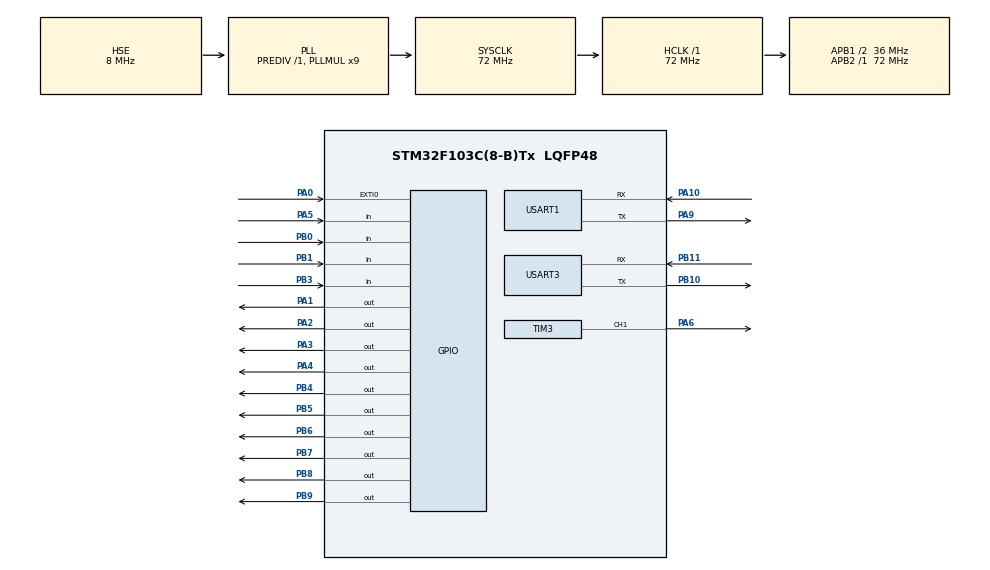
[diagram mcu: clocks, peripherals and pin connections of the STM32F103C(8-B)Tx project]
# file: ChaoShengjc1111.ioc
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FREERTOS.Mutexes01=dataMutex,Dynamic,NULL,Available
FREERTOS.Queues01=espQueue,128,uint8_t,0,Dynamic,NULL,NULL
FREERTOS.Tasks01=Task_key,24,256,StartTask_key,Default,NULL,Dynamic,NULL,NULL;Task_Sensor,25,256,StartTask_Sensor,Default,NULL,Dynamic,NULL,NULL;Task_OLED,8,256,StartTask_OLED,Default,NULL,Dynamic,NULL,NULL;Task_EspProcess,32,768,StartTask_EspProces,Default,NULL,Dynamic,NULL,NULL
FREERTOS.configTOTAL_HEAP_SIZE=8192
Mcu.Family=STM32F1
Mcu.Name=STM32F103C(8-B)Tx
Mcu.Package=LQFP48
NVIC.EXTI0_IRQn=true\:5\:0\:false\:false\:true\:true\:true\:true\:true
NVIC.PriorityGroup=NVIC_PRIORITYGROUP_4
NVIC.USART1_IRQn=true\:5\:0\:false\:false\:true\:true\:true\:true\:true
NVIC.USART3_IRQn=true\:5\:0\:false\:false\:true\:true\:true\:true\:true
PA0-WKUP.GPIO_ModeDefaultEXTI=GPIO_MODE_IT_RISING_FALLING
PA0-WKUP.GPIO_PuPd=GPIO_PULLUP
PA0-WKUP.Signal=GPXTI0
PA1.Signal=GPIO_Output
PA10.Mode=Asynchronous
PA10.Signal=USART1_RX
PA13.Mode=Serial_Wire
PA13.Signal=SYS_JTMS-SWDIO
PA14.Mode=Serial_Wire
PA14.Signal=SYS_JTCK-SWCLK
PA2.Signal=GPIO_Output
PA3.Signal=GPIO_Output
PA4.Signal=GPIO_Output
PA5.GPIO_PuPd=GPIO_PULLUP
PA5.Signal=GPIO_Input
PA6.Signal=S_TIM3_CH1
PA9.Mode=Asynchronous
PA9.Signal=USART1_TX
PB0.GPIO_PuPd=GPIO_PULLUP
PB0.Signal=GPIO_Input
PB1.GPIO_PuPd=GPIO_PULLUP
PB1.Signal=GPIO_Input
PB10.Mode=Asynchronous
PB10.Signal=USART3_TX
PB11.Mode=Asynchronous
PB11.Signal=USART3_RX
PB3.GPIO_PuPd=GPIO_PULLUP
PB3.Signal=GPIO_Input
PB4.Signal=GPIO_Output
PB5.Signal=GPIO_Output
PB6.Signal=GPIO_Output
PB7.Signal=GPIO_Output
PB8.GPIO_ModeDefaultOutputPP=GPIO_MODE_OUTPUT_OD
PB8.GPIO_PuPd=GPIO_PULLUP
PB8.Signal=GPIO_Output
PB9.GPIO_ModeDefaultOutputPP=GPIO_MODE_OUTPUT_OD
PB9.GPIO_PuPd=GPIO_PULLUP
PB9.Signal=GPIO_Output
PD0-OSC_IN.Mode=HSE-External-Oscillator
PD0-OSC_IN.Signal=RCC_OSC_IN
PD1-OSC_OUT.Mode=HSE-External-Oscillator
PD1-OSC_OUT.Signal=RCC_OSC_OUT
ProjectManager.HeapSize=0x200
ProjectManager.StackSize=0x400
ProjectManager.TargetToolchain=STM32CubeIDE
RCC.AHBFreq_Value=72000000
RCC.APB1CLKDivider=RCC_HCLK_DIV2
RCC.APB1Freq_Value=36000000
RCC.APB1TimFreq_Value=72000000
RCC.APB2Freq_Value=72000000
RCC.APB2TimFreq_Value=72000000
RCC.HCLKFreq_Value=72000000
RCC.PLLMUL=RCC_PLL_MUL9
RCC.PLLSourceVirtual=RCC_PLLSOURCE_HSE
RCC.SYSCLKFreq_VALUE=72000000
RCC.SYSCLKSource=RCC_SYSCLKSOURCE_PLLCLK
RCC.USBFreq_Value=72000000
SH.S_TIM3_CH1.0=TIM3_CH1,PWM Generation1 CH1
TIM3.Channel-PWM\ Generation1\ CH1=TIM_CHANNEL_1
TIM3.Period=399
TIM3.Prescaler=71
TIM4.Prescaler=71
USART1.VirtualMode=VM_ASYNC
USART3.VirtualMode=VM_ASYNC
VP_FREERTOS_VS_CMSIS_V2.Mode=CMSIS_V2
VP_TIM3_VS_ClockSourceINT.Mode=Internal
VP_TIM4_VS_ClockSourceINT.Mode=Internal
board=custom

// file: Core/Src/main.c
/* USER CODE BEGIN Header */
/**
  ******************************************************************************
  * @file           : main.c
  * @brief          : Main program body
  ******************************************************************************
  * @attention
  *
  * Copyright (c) 2026 STMicroelectronics.
  * All rights reserved.
  *
  * This software is licensed under terms that can be found in the LICENSE file
  * in the root directory of this software component.
  * If no LICENSE file comes with this software, it is provided AS-IS.
  *
  ******************************************************************************
  */
/* USER CODE END Header */
#include "main.h"
#include "cmsis_os.h"
#include "tim.h"
#include "usart.h"
#include "gpio.h"

/* USER CODE BEGIN Includes */
#include "delay.h"
#include "led.h"
#include "beep.h"
#include "key.h"
#include "oled.h"
#include "hc_sr04.h"
#include "store.h"
#include "esp8266.h"
/* USER CODE END Includes */

/* USER CODE BEGIN PV */
int key_num;
int s_distance;          /* 设定距离（全局，任务共享） */
int c_distance;          /* 编辑中的距离 */
uint8_t edit_mode = 0;   /* 0=普通模式, 1=数值编辑模式 */
/* USER CODE END PV */

void SystemClock_Config(void);
void MX_FREERTOS_Init(void);

int main(void)
{

  /* USER CODE BEGIN 1 */
  SCB->VTOR = FLASH_BASE | 0x6000;   /* OTA: APP向量表偏移到0x08006000，必须在HAL_Init之前 */

  /* USER CODE END 1 */

  /* MCU Configuration--------------------------------------------------------*/

  /* Reset of all peripherals, Initializes the Flash interface and the Systick. */
  HAL_Init();

  /* Configure the system clock */
  SystemClock_Config();

  /* Initialize all configured peripherals */
  MX_GPIO_Init();
  MX_TIM3_Init();
  MX_TIM4_Init();
  MX_USART1_UART_Init();
  MX_USART3_UART_Init();
  /* USER CODE BEGIN 2 */
  delay_init(72);
  ESP8266_USART1_Init();
  __enable_irq();                    /* OTA: Bootloader跳转前__disable_irq()，跳转非真复位、PRIMASK保持1;
                                        在USART1/ESP接收等中断外设全部就绪后再开中断，否则SVC/SysTick/
                                        USART被屏蔽任务无法启动，过早开中断还可能触发未初始化外设HardFault */

  /* 外设初始化 */
  Led_init();
  Beep_PWM_Init();
  key16_init();
  OLED_Init();
  Store_Init();
  hc_sr04_init();

  if (Store_Data[1] == 0x0000 || Store_Data[1] > 100)
      Store_Data[1] = 10;
  s_distance = Store_Data[1];   /* 初始设定距离 10cm */

  c_distance = 0;

  /* 初始化OLED显示 */
  OLED_Clear();
  OLED_ShowString(1, 1, "HC-SR04 Test");

  OLED_ShowString(2, 1, "Set:");
  OLED_ShowString(2, 8, "cm ");
  OLED_ShowNum(2, 5, s_distance, 2);

  OLED_ShowString(3, 1, "Edit:");
  OLED_ShowString(3, 8, "cm ");
  OLED_ShowString(3, 5, "  ");      /* 编辑值初始化 */

  OLED_ShowString(4, 1, "Dist:");
  OLED_ShowString(4, 11, "cm ");

  /* ===== 启动进度诊断（Dist行显示走到哪一步，任务跑起来后会被OLED任务覆盖）===== */
  OLED_ShowString(4, 6, "WiFi...");    /* ① 即将联网配置 */
  ESP8266_AutoConfigAT();
  OLED_ShowString(4, 6, "RTOS...");    /* ② 联网结束，即将启动调度器 */
  /* USER CODE END 2 */

  /* Init scheduler */
  osKernelInitialize();

  /* Call init function for freertos objects (in cmsis_os2.c) */
  MX_FREERTOS_Init();

  /* Start scheduler */
  osKernelStart();

  /* We should never get here as control is now taken by the scheduler */

  /* Infinite loop */
  while (1)
  {

  }
}

void SystemClock_Config(void)
{
  RCC_OscInitTypeDef RCC_OscInitStruct = {0};
  RCC_ClkInitTypeDef RCC_ClkInitStruct = {0};

  /** Initializes the RCC Oscillators according to the specified parameters
  * in the RCC_OscInitTypeDef structure.
  */
  RCC_OscInitStruct.OscillatorType = RCC_OSCILLATORTYPE_HSE;
  RCC_OscInitStruct.HSEState = RCC_HSE_ON;
  RCC_OscInitStruct.HSEPredivValue = RCC_HSE_PREDIV_DIV1;
  RCC_OscInitStruct.HSIState = RCC_HSI_ON;
  RCC_OscInitStruct.PLL.PLLState = RCC_PLL_ON;
  RCC_OscInitStruct.PLL.PLLSource = RCC_PLLSOURCE_HSE;
  RCC_OscInitStruct.PLL.PLLMUL = RCC_PLL_MUL9;
  if (HAL_RCC_OscConfig(&RCC_OscInitStruct) != HAL_OK)
  {
    Error_Handler();
  }

  /** Initializes the CPU, AHB and APB buses clocks
  */
  RCC_ClkInitStruct.ClockType = RCC_CLOCKTYPE_HCLK|RCC_CLOCKTYPE_SYSCLK
                              |RCC_CLOCKTYPE_PCLK1|RCC_CLOCKTYPE_PCLK2;
  RCC_ClkInitStruct.SYSCLKSource = RCC_SYSCLKSOURCE_PLLCLK;
  RCC_ClkInitStruct.AHBCLKDivider = RCC_SYSCLK_DIV1;
  RCC_ClkInitStruct.APB1CLKDivider = RCC_HCLK_DIV2;
  RCC_ClkInitStruct.APB2CLKDivider = RCC_HCLK_DIV1;

  if (HAL_RCC_ClockConfig(&RCC_ClkInitStruct, FLASH_LATENCY_2) != HAL_OK)
  {
    Error_Handler();
  }
}

void Error_Handler(void)
{
  __disable_irq();
  while (1)
  {
  }
}

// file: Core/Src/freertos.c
/* USER CODE BEGIN Header */
/**
  ******************************************************************************
  * File Name          : freertos.c
  * Description        : Code for freertos applications
  ******************************************************************************
  * @attention
  *
  * Copyright (c) 2026 STMicroelectronics.
  * All rights reserved.
  *
  * This software is licensed under terms that can be found in the LICENSE file
  * in the root directory of this software component.
  * If no LICENSE file comes with this software, it is provided AS-IS.
  *
  ******************************************************************************
  */
/* USER CODE END Header */

#include "FreeRTOS.h"
#include "task.h"
#include "main.h"
#include "cmsis_os.h"

/* USER CODE BEGIN Includes */
#include "key.h"
#include "hc_sr04.h"
#include "oled.h"
#include "beep.h"
#include "led.h"
#include "store.h"
#include "esp8266.h"
#include "delay.h"
/* USER CODE END Includes */

/* USER CODE BEGIN Variables */
extern volatile int distance;    /* 在 hc_sr04.c 中定义 */
extern int s_distance;
extern int c_distance;
extern uint8_t edit_mode;
extern int key_num;
/* USER CODE END Variables */
/* Definitions for Task_key */
osThreadId_t Task_keyHandle;
const osThreadAttr_t Task_key_attributes = {
  .name = "Task_key",
  .stack_size = 256 * 4,
  .priority = (osPriority_t) osPriorityNormal,
};
/* Definitions for Task_Sensor */
osThreadId_t Task_SensorHandle;
const osThreadAttr_t Task_Sensor_attributes = {
  .name = "Task_Sensor",
  .stack_size = 256 * 4,
  .priority = (osPriority_t) osPriorityNormal1,
};
/* Definitions for Task_OLED */
osThreadId_t Task_OLEDHandle;
const osThreadAttr_t Task_OLED_attributes = {
  .name = "Task_OLED",
  .stack_size = 256 * 4,
  .priority = (osPriority_t) osPriorityLow,
};
/* Definitions for Task_EspProcess */
osThreadId_t Task_EspProcessHandle;
const osThreadAttr_t Task_EspProcess_attributes = {
  .name = "Task_EspProcess",
  .stack_size = 768 * 4,
  .priority = (osPriority_t) osPriorityAboveNormal,
};
/* Definitions for espQueue */
osMessageQueueId_t espQueueHandle;
const osMessageQueueAttr_t espQueue_attributes = {
  .name = "espQueue"
};
/* Definitions for dataMutex */
osMutexId_t dataMutexHandle;
const osMutexAttr_t dataMutex_attributes = {
  .name = "dataMutex"
};

void StartTask_key(void *argument);
void StartTask_Sensor(void *argument);
void StartTask_OLED(void *argument);
void StartTask_EspProces(void *argument);

void MX_FREERTOS_Init(void); /* (MISRA C 2004 rule 8.1) */

void MX_FREERTOS_Init(void) {
  /* Create the mutex(es) */
  /* creation of dataMutex */
  dataMutexHandle = osMutexNew(&dataMutex_attributes);

  /* Create the queue(s) */
  /* creation of espQueue */
  espQueueHandle = osMessageQueueNew (128, sizeof(uint8_t), &espQueue_attributes);

  /* Create the thread(s) */
  /* creation of Task_key */
  Task_keyHandle = osThreadNew(StartTask_key, NULL, &Task_key_attributes);

  /* creation of Task_Sensor */
  Task_SensorHandle = osThreadNew(StartTask_Sensor, NULL, &Task_Sensor_attributes);

  /* creation of Task_OLED */
  Task_OLEDHandle = osThreadNew(StartTask_OLED, NULL, &Task_OLED_attributes);

  /* creation of Task_EspProcess */
  Task_EspProcessHandle = osThreadNew(StartTask_EspProces, NULL, &Task_EspProcess_attributes);

}

void StartTask_key(void *argument)
{
  /* USER CODE BEGIN StartTask_key */
  /* Infinite loop */
	for(;;)
	  {
	    key_num = read_key16_value();
	    if (key_num != -1)
	    {
	      osDelay(pdMS_TO_TICKS(10));                /* 消抖（RTOS延时） */
	      key_num = read_key16_value();
	      if (key_num != -1)
	      {
	        osMutexAcquire(dataMutexHandle, osWaitForever);
	        if (key_num == 15)                       /* S16 进入编辑模式 */
	        {
	          edit_mode = 1;
	          c_distance = 0;
	        }
	        if (edit_mode == 1)
	        {
	          if (key_num >= 0 && key_num <= 9)      /* 数字键 */
	          {
	            c_distance = c_distance * 10 + key_num;
	            if (c_distance > 99) c_distance = 99;
	          }
	          else if (key_num == 12)                /* S13 确认保存 */
	          {
	            if (c_distance > 100) c_distance = 100;
	            if (c_distance < 0)  c_distance = 0;
	            s_distance = c_distance;
	            edit_mode = 0;
	            Store_Data[1] = (uint16_t)s_distance;
	            Store_Save();                        /* Flash保存（锁内，避免与ESP任务并发擦写） */
	          }
	          else if (key_num == 14)                /* S15 清空 */
	          {
	            c_distance = 0;
	          }
	        }
	        osMutexRelease(dataMutexHandle);

	        while (read_key16_value() != -1) osDelay(1);  /* 等松开，让出CPU */
	      }
	    }
	    osDelay(pdMS_TO_TICKS(10));
	  }
  /* USER CODE END StartTask_key */
}

void StartTask_Sensor(void *argument)
{
  /* USER CODE BEGIN StartTask_Sensor */
  /* Infinite loop */
	for(;;)
	  {
	    int d = get_distance();                      /* Trig 10us 用DWT，回波等待忙等~30ms可接受 */
	    osMutexAcquire(dataMutexHandle, osWaitForever);
	    distance = d;                                /* 更新共享距离 */
	    int s = s_distance;
	    osMutexRelease(dataMutexHandle);

	    if (d < 0 || d >= s)                         /* 测量失败或超阈值 */
	    {
	      Led_On();
	      Beep_ShortBeep();
	    }
	    else
	    {
	      Led_Off();
	      Beep_Off();
	    }
	    osDelay(pdMS_TO_TICKS(100));                 /* 100ms 测距周期 */
	  }
  /* USER CODE END StartTask_Sensor */
}

void StartTask_OLED(void *argument)
{
  /* USER CODE BEGIN StartTask_OLED */
  /* Infinite loop */
	for(;;)
	  {
	    osMutexAcquire(dataMutexHandle, osWaitForever);
	    int d = distance;
	    int s = s_distance;
	    int c = c_distance;
	    uint8_t em = edit_mode;
	    osMutexRelease(dataMutexHandle);

	    OLED_ShowString(2, 5, "  ");                 /* 设定值 */
	    OLED_ShowNum(2, 5, s, 2);

	    OLED_ShowString(3, 5, "  ");                 /* 编辑值 */
	    if (em == 1) OLED_ShowNum(3, 5, c, 2);

	    if (d < 0 || d >= s)                         /* 距离显示 */
	    {
	      OLED_ShowString(4, 6, "Error");
	    }
	    else
	    {
	      OLED_ShowString(4, 6, "     ");
	      OLED_ShowNum(4, 6, (uint32_t)d, 2);
	      OLED_ShowString(4, 11, "cm ");
	    }
	    osDelay(pdMS_TO_TICKS(50));                  /* 50ms 刷新一次 */
	  }
  /* USER CODE END StartTask_OLED */
}

void StartTask_EspProces(void *argument)
{
  /* USER CODE BEGIN StartTask_EspProces */
  /* Infinite loop */
	uint16_t web_new_dist;
	for(;;)
	{
		osMutexAcquire(dataMutexHandle, osWaitForever);
		int d = distance;
		int s = s_distance;
		osMutexRelease(dataMutexHandle);

		if (ESP8266_ProcessESPData((uint16_t)(d > 0 ? d : 0), (uint16_t)s, &web_new_dist) == 1)
		{
			osMutexAcquire(dataMutexHandle, osWaitForever);
			s_distance = web_new_dist;               /* 网页下发新阈值 */
			Store_Data[1] = s_distance;
			Store_Save();
			osMutexRelease(dataMutexHandle);
		}
		osDelay(pdMS_TO_TICKS(5));                  /* 10ms轮询网页请求 */
	}
  /* USER CODE END StartTask_EspProces */
}
